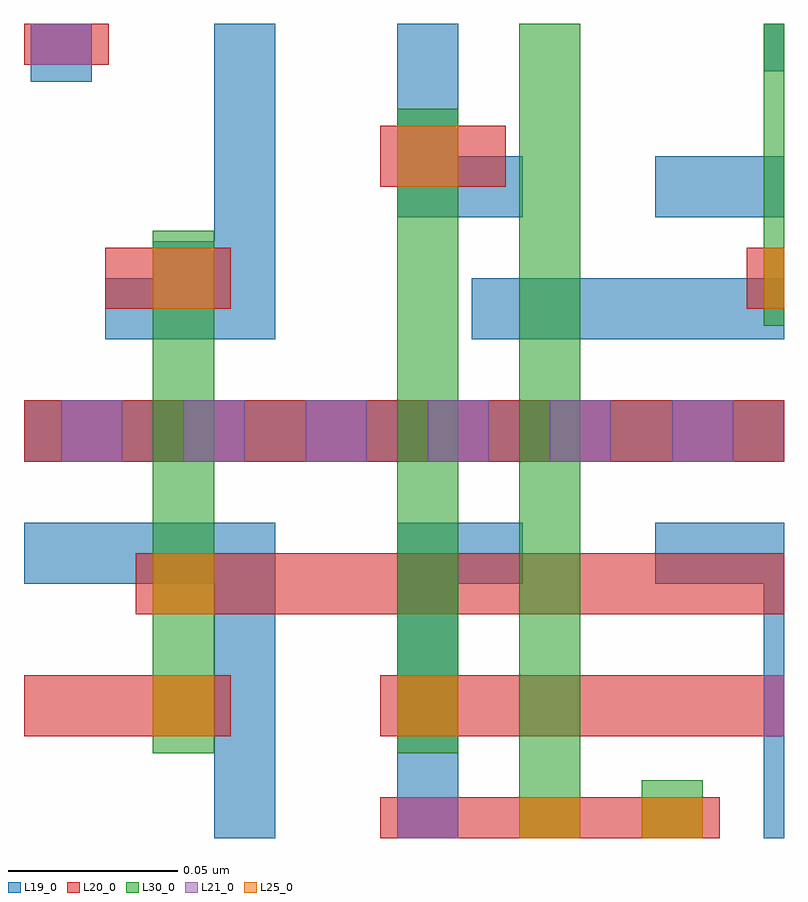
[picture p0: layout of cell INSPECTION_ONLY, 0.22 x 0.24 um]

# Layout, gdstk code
import gdstk
lib = gdstk.Library(unit=1e-6, precision=2.5e-10)
def R(c, l, rs):  # rectangles x0, y0, x1, y1
    for r in rs: c.add(gdstk.rectangle(r[:2], r[2:], *l))
def A(c, l, x, y, w, h, nx, ny, dx, dy):  # array of equal rectangles
    R(c, l, [(x+i*dx, y+j*dy, x+i*dx+w, y+j*dy+h) for i in range(nx) for j in range(ny)])
def P(c, l, *ps):  # polygons
    for p in ps: c.add(gdstk.Polygon(p, *l))
L19_0 = (19, 0)
L20_0 = (20, 0)
L21_0 = (21, 0)
L25_0 = (25, 0)
L30_0 = (30, 0)

inspection_only = lib.new_cell('INSPECTION_ONLY')
R(inspection_only, L19_0, [(10.44,7.17,10.458,7.184), (10.548,7.198,10.554,7.22), (10.33,7.281,10.554,7.299), (10.33,7.281,10.554,7.299), (10.33,7.281,10.422,7.299), (10.33,7.281,10.422,7.299), (10.422,7.281,10.554,7.299), (10.422,7.281,10.554,7.299), (10.462,7.317,10.554,7.335), (10.368,7.324,10.386,7.346), (10.516,7.353,10.554,7.371), (10.44,7.36,10.458,7.382), (10.332,7.393,10.35,7.41), (10.548,7.396,10.554,7.41)])
P(inspection_only, L19_0, [(10.386,7.17),(10.386,7.245),(10.33,7.245),(10.33,7.263),(10.404,7.263),(10.404,7.17)],
  [(10.354,7.317),(10.354,7.335),(10.386,7.335),(10.386,7.41),(10.404,7.41),(10.404,7.317)],
  [(10.44,7.17),(10.44,7.263),(10.477,7.263),(10.477,7.245),(10.458,7.245),(10.458,7.17)],
  [(10.548,7.17),(10.548,7.245),(10.516,7.245),(10.516,7.263),(10.554,7.263),(10.554,7.17)],
  [(10.44,7.353),(10.44,7.41),(10.458,7.41),(10.458,7.371),(10.477,7.371),(10.477,7.353)])
R(inspection_only, L20_0, [(10.435,7.17,10.535,7.182), (10.33,7.2,10.391,7.218), (10.435,7.2,10.554,7.218), (10.363,7.236,10.554,7.254), (10.33,7.281,10.554,7.299), (10.354,7.326,10.391,7.344), (10.543,7.326,10.554,7.344), (10.435,7.362,10.472,7.38), (10.33,7.398,10.355,7.41)])
A(inspection_only, L21_0, 10.341, 7.281, 0.018, 0.018, 6, 1, 0.036, 0)
R(inspection_only, L21_0, [(10.44,7.17,10.458,7.182), (10.548,7.2,10.554,7.218), (10.368,7.326,10.386,7.344), (10.44,7.362,10.458,7.38), (10.332,7.398,10.35,7.41)])
R(inspection_only, L25_0, [(10.476,7.17,10.494,7.182), (10.512,7.17,10.53,7.182), (10.368,7.2,10.386,7.218), (10.44,7.2,10.458,7.218), (10.368,7.236,10.386,7.254), (10.368,7.326,10.386,7.344), (10.548,7.326,10.554,7.344), (10.44,7.362,10.458,7.38)])
R(inspection_only, L30_0, [(10.476,7.17,10.494,7.41), (10.512,7.17,10.53,7.187), (10.368,7.195,10.386,7.349), (10.44,7.195,10.458,7.385), (10.548,7.321,10.554,7.41)])

lib.write_gds('INSPECTION_ONLY.gds')
